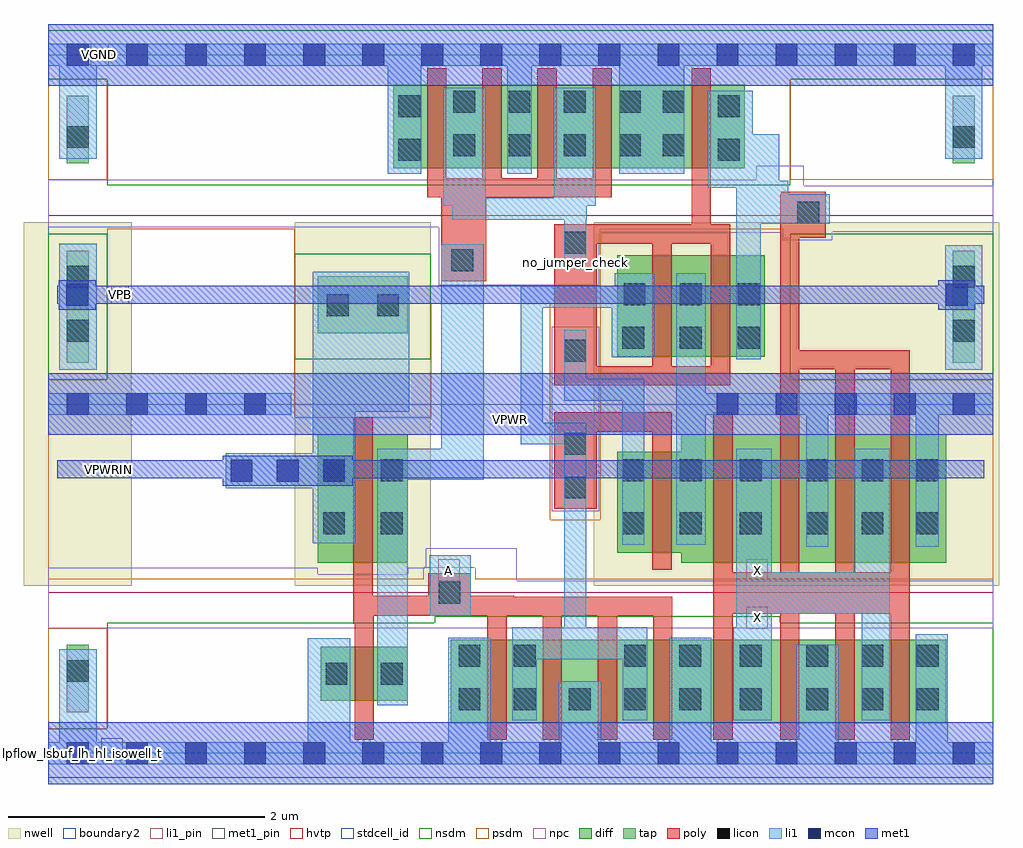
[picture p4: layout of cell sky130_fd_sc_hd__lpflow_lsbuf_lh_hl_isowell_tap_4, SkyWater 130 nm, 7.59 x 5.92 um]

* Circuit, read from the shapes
.subckt sky130_fd_sc_hd__lpflow_lsbuf_lh_hl_isowell_tap_4 A VGND VPB VPWR VPWRIN X
XM1 n1 A VGND VGND sky130_fd_pr__nfet_01v8 w=0.42 l=0.15
XM2 n2 n1 VGND VGND sky130_fd_pr__nfet_01v8 w=0.65 l=0.15 m=4
XM3 n3 A VGND VGND sky130_fd_pr__nfet_01v8 w=0.65 l=0.15 m=4
XM4 n4 n2 VGND VGND sky130_fd_pr__nfet_01v8 w=0.65 l=0.15
XM5 X n4 VGND VGND sky130_fd_pr__nfet_01v8 w=0.65 l=0.15 m=4
XM6 n1 A VPWRIN VPWRIN sky130_fd_pr__pfet_01v8_hvt w=1 l=0.15
XM7 VPWR n3 n2 VPB sky130_fd_pr__pfet_01v8_hvt w=0.79 l=0.15
XM8 VPWR n2 n3 VPB sky130_fd_pr__pfet_01v8_hvt w=0.79 l=0.15
XM9 n4 n2 VPWR VPB sky130_fd_pr__pfet_01v8_hvt w=0.79 l=0.15
XM10 X n4 VPWR VPB sky130_fd_pr__pfet_01v8_hvt w=1 l=0.15 m=4
.ends

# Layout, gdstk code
import gdstk
lib = gdstk.Library(unit=1e-6, precision=1e-09)
def R(c, l, rs):  # rectangles x0, y0, x1, y1
    for r in rs: c.add(gdstk.rectangle(r[:2], r[2:], *l))
def A(c, l, x, y, w, h, nx, ny, dx, dy):  # array of equal rectangles
    R(c, l, [(x+i*dx, y+j*dy, x+i*dx+w, y+j*dy+h) for i in range(nx) for j in range(ny)])
def P(c, l, *ps):  # polygons
    for p in ps: c.add(gdstk.Polygon(p, *l))
nwell = (64, 20)
diff = (65, 20)
tap = (65, 44)
poly = (66, 20)
licon = (66, 44)
li1_pin = (67, 16)
li1 = (67, 20)
mcon = (67, 44)
met1_pin = (68, 16)
met1 = (68, 20)
hvtp = (78, 44)
stdcell_id = (81, 4)
nsdm = (93, 44)
psdm = (94, 20)
npc = (95, 20)
boundary2 = (236, 0)

sky130_fd_sc_hd__lpflow_ = lib.new_cell('sky130_fd_sc_hd__lpflow_lsbuf_lh_hl_isowell_tap_4')
R(sky130_fd_sc_hd__lpflow_, nwell, [(-0.19,1.305,0.65,4.135), (1.92,1.305,2.98,4.135), (4.25,1.305,7.405,4.135)])
R(sky130_fd_sc_hd__lpflow_, diff, [(3.135,0.235,6.995,0.885), (2.12,0.41,2.8,0.83), (2.1,1.485,2.8,2.485), (4.43,3.09,5.58,3.88), (2.685,4.555,5.425,5.205)])
P(sky130_fd_sc_hd__lpflow_, diff, [(6.995,2.485),(4.93,2.485),(4.93,2.35),(4.43,2.35),(4.43,1.56),(4.93,1.56),(4.93,1.485),(6.995,1.485)])
R(sky130_fd_sc_hd__lpflow_, tap, [(0.145,0.32,0.315,0.845), (0.145,3.04,0.315,3.915), (7.045,3.04,7.215,3.915), (2.1,3.27,2.8,3.715), (0.145,4.595,0.315,5.12), (7.045,4.595,7.215,5.12)])
P(sky130_fd_sc_hd__lpflow_, poly, [(4.39,5.335),(4.24,5.335),(4.24,4.48),(3.96,4.48),(3.96,5.335),(3.81,5.335),(3.81,4.48),(3.53,4.48),(3.53,5.335),(3.38,5.335),(3.38,4.48),(3.1,4.48),(3.1,5.335),(2.95,5.335),(2.95,4.33),(3.06,4.33),(3.06,3.675),(3.41,3.675),(3.41,4.33),(4.39,4.33)],
  [(4.855,2.655),(3.94,2.655),(3.94,1.905),(4.27,1.905),(4.27,2.505),(4.705,2.505),(4.705,1.43),(4.855,1.43)],
  [(4.86,1.22),(3.63,1.22),(3.63,1.225),(3.29,1.225),(3.29,1.4),(2.96,1.4),(2.96,1.225),(2.525,1.225),(2.525,2.615),(2.375,2.615),(2.375,1.01),(2.385,1.01),(2.385,0.105),(2.535,0.105),(2.535,1.07),(3.42,1.07),(3.42,0.105),(3.57,0.105),(3.57,1.07),(3.85,1.07),(3.85,0.105),(4,0.105),(4,1.07),(4.28,1.07),(4.28,0.105),(4.43,0.105),(4.43,1.07),(4.71,1.07),(4.71,0.105),(4.86,0.105)],
  [(5.31,4.12),(5.16,4.12),(5.16,3.015),(4.855,3.015),(4.855,3.97),(5.16,3.97),(5.16,5.335),(5.01,5.335),(5.01,4.12),(4.705,4.12),(4.705,3.015),(4.27,3.015),(4.27,3.97),(4.705,3.97),(4.705,4.12),(3.94,4.12),(3.94,2.865),(5.31,2.865)],
  [(6.71,3.14),(6.56,3.14),(6.56,1.41),(6.28,1.41),(6.28,2.99),(6.56,2.99),(6.56,3.14),(6.13,3.14),(6.13,1.41),(5.85,1.41),(5.85,2.99),(6.13,2.99),(6.13,3.14),(5.85,3.14),(5.85,4.015),(6.055,4.015),(6.055,4.375),(5.71,4.375),(5.71,4.355),(5.7,4.355),(5.7,1.41),(5.33,1.41),(5.33,2.655),(5.18,2.655),(5.18,0.105),(5.33,0.105),(5.33,1.085),(5.7,1.085),(5.7,0.105),(5.85,0.105),(5.85,1.085),(6.13,1.085),(6.13,0.105),(6.28,0.105),(6.28,1.085),(6.56,1.085),(6.56,0.105),(6.71,0.105)])
A(sky130_fd_sc_hd__lpflow_, licon, 3.195, 0.335, 0.17, 0.17, 5, 1, 0.43, 0)
A(sky130_fd_sc_hd__lpflow_, licon, 5.905, 0.335, 0.17, 0.17, 3, 2, 0.43, 0.34)
A(sky130_fd_sc_hd__lpflow_, licon, 5.905, 1.705, 0.17, 0.17, 3, 2, 0.43, 0.415)
A(sky130_fd_sc_hd__lpflow_, licon, 4.47, 3.15, 0.17, 0.17, 3, 1, 0.45, 0)
A(sky130_fd_sc_hd__lpflow_, licon, 3.155, 4.65, 0.17, 0.17, 4, 2, 0.43, 0.34)
R(sky130_fd_sc_hd__lpflow_, licon, [(5.385,0.335,5.555,0.505), (2.16,0.535,2.33,0.705), (2.59,0.535,2.76,0.705), (0.145,0.555,0.315,0.725), (3.195,0.675,3.365,0.845), (3.625,0.675,3.795,0.845), (4.485,0.675,4.655,0.845), (4.915,0.675,5.085,0.845), (5.385,0.675,5.555,0.845), (3.04,1.165,3.21,1.335), (2.14,1.705,2.31,1.875), (2.59,1.705,2.76,1.875), (4.47,1.705,4.64,1.875), (4.92,1.705,5.09,1.875), (5.385,1.705,5.555,1.875), (4.02,1.985,4.19,2.155), (2.14,2.12,2.31,2.29), (2.59,2.12,2.76,2.29), (4.47,2.12,4.64,2.29), (4.92,2.12,5.09,2.29), (5.385,2.12,5.555,2.29), (4.02,2.325,4.19,2.495), (4.02,3.05,4.19,3.22), (0.145,3.205,0.315,3.375), (7.045,3.205,7.215,3.375), (2.17,3.405,2.34,3.575), (2.56,3.405,2.73,3.575), (4.48,3.49,4.65,3.66), (4.92,3.49,5.09,3.66), (5.37,3.49,5.54,3.66), (0.145,3.625,0.315,3.795), (7.045,3.625,7.215,3.795), (3.14,3.755,3.31,3.925), (4.02,3.89,4.19,4.06), (5.835,4.125,6.005,4.295), (2.725,4.615,2.895,4.785), (5.215,4.615,5.385,4.785), (4.785,4.65,4.955,4.82), (0.145,4.715,0.315,4.885), (7.045,4.715,7.215,4.885), (2.725,4.955,2.895,5.125), (5.215,4.955,5.385,5.125), (4.785,4.99,4.955,5.16)])
R(sky130_fd_sc_hd__lpflow_, li1_pin, [(5.435,0.97,5.605,1.14), (3.035,1.34,3.205,1.51), (5.435,1.34,5.605,1.51)])
R(sky130_fd_sc_hd__lpflow_, li1, [(2.97,1.07,3.29,1.54), (0,2.635,1.89,2.805), (0.085,2.985,0.375,3.97), (6.985,2.985,7.275,3.955)])
P(sky130_fd_sc_hd__lpflow_, li1, [(2.81,3.75),(2.06,3.75),(2.06,2.335),(1.38,2.335),(1.38,2.065),(2.06,2.065),(2.06,1.635),(2.39,1.635),(2.39,2.66),(2.81,2.66)],
  [(3.39,3.965),(3.06,3.965),(3.06,2.37),(2.56,2.37),(2.56,0.375),(2.8,0.375),(2.8,2.13),(3.39,2.13)],
  [(4.265,5.185),(3.935,5.185),(3.935,4.325),(3.405,4.325),(3.405,5.185),(3.075,5.185),(3.075,4.265),(3.145,4.265),(3.145,4.155),(4.02,4.155),(4.02,3.81),(4.19,3.81),(4.19,4.155),(4.195,4.155),(4.195,4.265),(4.265,4.265)],
  [(4.64,2.915),(4.19,2.915),(4.19,3.3),(4.02,3.3),(4.02,2.745),(4.47,2.745),(4.47,1.625),(4.64,1.625)],
  [(4.72,3.74),(4.41,3.74),(4.41,3.64),(3.68,3.64),(3.68,2.405),(4.02,2.405),(4.02,0.98),(3.615,0.98),(3.615,0.255),(3.805,0.255),(3.805,0.73),(4.475,0.73),(4.475,0.255),(4.665,0.255),(4.665,0.98),(4.19,0.98),(4.19,2.575),(3.85,2.575),(3.85,3.47),(4.39,3.47),(4.39,3.085),(4.72,3.085)],
  [(6.085,4.355),(5.765,4.355),(5.765,4.46),(5.695,4.46),(5.695,4.82),(5.485,4.82),(5.485,5.16),(5.135,5.16),(5.135,4.405),(5.36,4.405),(5.36,3.07),(5.55,3.07),(5.55,4.125),(6.085,4.125)],
  [(6.555,2.37),(6.28,2.37),(6.28,1.41),(5.635,1.41),(5.635,2.37),(5.36,2.37),(5.36,0.98),(5.335,0.98),(5.335,0.255),(5.635,0.255),(5.635,1.085),(6.335,1.085),(6.335,0.255),(6.555,0.255)],
  [(7.36,5.525),(0,5.525),(0,5.355),(0.085,5.355),(0.085,4.63),(0.375,4.63),(0.375,5.355),(2.645,5.355),(2.645,4.515),(2.905,4.515),(2.905,5.355),(3.575,5.355),(3.575,4.515),(3.765,4.515),(3.765,5.355),(4.445,5.355),(4.445,4.515),(4.955,4.515),(4.955,5.355),(6.985,5.355),(6.985,4.63),(7.275,4.63),(7.275,5.355),(7.36,5.355)],
  [(7.36,2.805),(5.12,2.805),(5.12,3.74),(4.89,3.74),(4.89,1.625),(5.12,1.625),(5.12,2.635),(5.905,2.635),(5.905,1.61),(6.075,1.61),(6.075,2.635),(6.755,2.635),(6.755,1.61),(6.935,1.61),(6.935,2.635),(7.36,2.635)],
  [(7.36,0.085),(7.005,0.085),(7.005,0.925),(6.755,0.925),(6.755,0.085),(6.155,0.085),(6.155,0.845),(5.825,0.845),(5.825,0.085),(5.165,0.085),(5.165,0.9),(4.835,0.9),(4.835,0.085),(4.305,0.085),(4.305,0.56),(3.975,0.56),(3.975,0.085),(3.445,0.085),(3.445,0.9),(3.115,0.9),(3.115,0.085),(2.35,0.085),(2.35,0.895),(2.02,0.895),(2.02,0.085),(0.375,0.085),(0.375,0.81),(0.085,0.81),(0.085,0.085),(0,0.085),(0,-0.085),(7.36,-0.085)])
A(sky130_fd_sc_hd__lpflow_, mcon, 0.145, -0.085, 0.17, 0.17, 16, 2, 0.46, 5.44)
A(sky130_fd_sc_hd__lpflow_, mcon, 1.42, 2.115, 0.17, 0.17, 3, 1, 0.36, 0)
A(sky130_fd_sc_hd__lpflow_, mcon, 0.145, 2.635, 0.17, 0.17, 4, 1, 0.46, 0)
A(sky130_fd_sc_hd__lpflow_, mcon, 5.205, 2.635, 0.17, 0.17, 5, 1, 0.46, 0)
R(sky130_fd_sc_hd__lpflow_, mcon, [(0.14,3.485,0.31,3.655), (6.99,3.485,7.16,3.655)])
R(sky130_fd_sc_hd__lpflow_, met1_pin, [(0.41,-0.055,0.58,0.115), (0.435,2.14,0.495,2.28), (0,2.48,6.24,2.72), (0.49,3.5,0.625,3.64), (0.33,5.355,0.47,5.525)])
A(sky130_fd_sc_hd__lpflow_, met1, 0, -0.24, 7.36, 0.48, 1, 3, 0, 2.72)
P(sky130_fd_sc_hd__lpflow_, met1, [(7.29,2.28),(2.37,2.28),(2.37,2.315),(1.36,2.315),(1.36,2.28),(0.07,2.28),(0.07,2.14),(1.36,2.14),(1.36,2.085),(2.37,2.085),(2.37,2.14),(7.29,2.14)],
  [(7.29,3.64),(7.22,3.64),(7.22,3.685),(6.93,3.685),(6.93,3.64),(0.37,3.64),(0.37,3.685),(0.08,3.685),(0.08,3.64),(0.07,3.64),(0.07,3.5),(0.08,3.5),(0.08,3.455),(0.37,3.455),(0.37,3.5),(6.93,3.5),(6.93,3.455),(7.22,3.455),(7.22,3.5),(7.29,3.5)])
R(sky130_fd_sc_hd__lpflow_, hvtp, [(0,1.25,7.36,4.19)])
R(sky130_fd_sc_hd__lpflow_, stdcell_id, [(0,0,7.36,5.44)])
R(sky130_fd_sc_hd__lpflow_, nsdm, [(0,2.91,0.46,4.045), (5.78,2.91,7.36,4.045), (1.92,3.07,2.98,3.89)])
P(sky130_fd_sc_hd__lpflow_, nsdm, [(7.36,5.63),(0,5.63),(0,5.25),(0.46,5.25),(0.46,4.425),(5.78,4.425),(5.78,5.25),(7.36,5.25)],
  [(7.36,1.015),(5.7,1.015),(5.7,1.065),(3.01,1.065),(3.01,1.015),(0.46,1.015),(0.46,0.19),(0,0.19),(0,-0.19),(7.36,-0.19)])
R(sky130_fd_sc_hd__lpflow_, psdm, [(0,0.19,0.46,0.975), (0,4.465,0.46,5.25), (5.78,4.465,7.36,5.25)])
P(sky130_fd_sc_hd__lpflow_, psdm, [(7.36,2.91),(5.78,2.91),(5.78,4.015),(5.725,4.015),(5.725,4.085),(4.3,4.085),(4.3,1.82),(3.91,1.82),(3.91,3.505),(2.98,3.505),(2.98,2.615),(1.92,2.615),(1.92,4.085),(0.46,4.085),(0.46,2.91),(0,2.91),(0,1.355),(2.925,1.355),(2.925,1.445),(3.325,1.445),(3.325,1.355),(7.36,1.355)])
R(sky130_fd_sc_hd__lpflow_, npc, [(3.92,1.885,4.29,3.32)])
P(sky130_fd_sc_hd__lpflow_, npc, [(7.36,4.42),(5.885,4.42),(5.885,4.575),(5.515,4.575),(5.515,4.465),(0,4.465),(0,4.095),(3.04,4.095),(3.04,3.645),(4.29,3.645),(4.29,4.055),(5.715,4.055),(5.715,3.995),(6.105,3.995),(6.105,4.06),(7.36,4.06)],
  [(7.36,1.345),(3.65,1.345),(3.65,1.595),(2.94,1.595),(2.94,1.445),(2.8,1.445),(2.8,1.395),(2.1,1.395),(2.1,1.445),(0,1.445),(0,0.975),(7.36,0.975)])
R(sky130_fd_sc_hd__lpflow_, boundary2, [(0,0,7.36,2.72)])
sky130_fd_sc_hd__lpflow_.add(gdstk.Label('lpflow_lsbuf_lh_hl_isowell_tap_4', (0,0), layer=83, texttype=44))
sky130_fd_sc_hd__lpflow_.add(gdstk.Label('no_jumper_check', (4.105,3.82), layer=83, texttype=44))
sky130_fd_sc_hd__lpflow_.add(gdstk.Label('VGND', (0.4,5.44), layer=68, texttype=5))
sky130_fd_sc_hd__lpflow_.add(gdstk.Label('VPB', (0.56,3.57), layer=68, texttype=5))
sky130_fd_sc_hd__lpflow_.add(gdstk.Label('VGND', (0.495,0.03), layer=68, texttype=5))
sky130_fd_sc_hd__lpflow_.add(gdstk.Label('VPWRIN', (0.465,2.21), layer=68, texttype=5))
sky130_fd_sc_hd__lpflow_.add(gdstk.Label('VPWR', (3.6,2.598), layer=68, texttype=5))
sky130_fd_sc_hd__lpflow_.add(gdstk.Label('A', (3.12,1.425), layer=67, texttype=5))
sky130_fd_sc_hd__lpflow_.add(gdstk.Label('X', (5.52,1.425), layer=67, texttype=5))
sky130_fd_sc_hd__lpflow_.add(gdstk.Label('X', (5.52,1.055), layer=67, texttype=5))

lib.write_gds('sky130_fd_sc_hd__lpflow_lsbuf_lh_hl_isowell_tap_4.gds')
